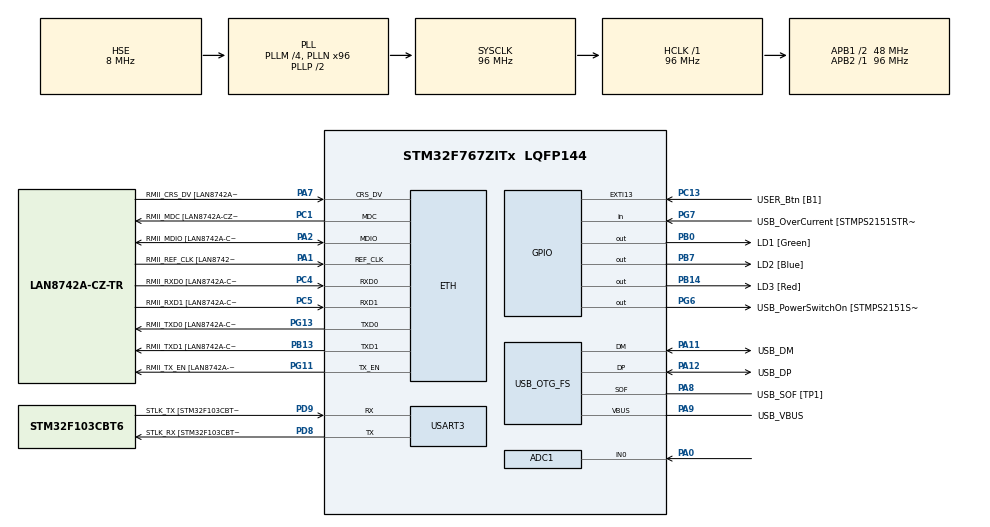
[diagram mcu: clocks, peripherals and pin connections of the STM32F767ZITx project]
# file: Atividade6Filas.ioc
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ADC1.Channel-0\#ChannelRegularConversion=ADC_CHANNEL_0
ADC1.NbrOfConversionFlag=1
ADC1.Rank-0\#ChannelRegularConversion=1
ADC1.SamplingTime-0\#ChannelRegularConversion=ADC_SAMPLETIME_3CYCLES
ADC1.master=1
Dma.ADC1.0.Direction=DMA_PERIPH_TO_MEMORY
Dma.ADC1.0.FIFOMode=DMA_FIFOMODE_DISABLE
Dma.ADC1.0.Instance=DMA2_Stream0
Dma.ADC1.0.MemDataAlignment=DMA_MDATAALIGN_HALFWORD
Dma.ADC1.0.MemInc=DMA_MINC_ENABLE
Dma.ADC1.0.Mode=DMA_NORMAL
Dma.ADC1.0.PeriphDataAlignment=DMA_PDATAALIGN_HALFWORD
Dma.ADC1.0.PeriphInc=DMA_PINC_DISABLE
Dma.ADC1.0.Priority=DMA_PRIORITY_LOW
Dma.Request0=ADC1
ETH.MediaInterface=HAL_ETH_RMII_MODE
ETH.PHY_Name=LAN8742A_PHY_ADDRESS
ETH.PHY_Value=0
ETH.PhyAddress=0
FREERTOS.BinarySemaphores01=semaforo1,Dynamic,NULL,Available;semaforoButtom,Dynamic,NULL,Available
FREERTOS.Queues01=Queue01,32,uint16_t,0,Dynamic,NULL,NULL
FREERTOS.Tasks01=comsumerTask,24,128,StartComsumerTask,Default,NULL,Dynamic,NULL,NULL;producerTask,24,128,StartProducerTask,Default,NULL,Dynamic,NULL,NULL
FREERTOS.configUSE_NEWLIB_REENTRANT=1
Mcu.Family=STM32F7
Mcu.Name=STM32F767ZITx
Mcu.Package=LQFP144
NVIC.DMA2_Stream0_IRQn=true\:5\:0\:false\:false\:true\:true\:false\:true\:true
NVIC.EXTI15_10_IRQn=true\:5\:0\:false\:false\:true\:true\:true\:true\:true
NVIC.PriorityGroup=NVIC_PRIORITYGROUP_4
NVIC.TIM6_DAC_IRQn=true\:15\:0\:false\:false\:true\:false\:false\:true\:true
NVIC.TimeBase=TIM6_DAC_IRQn
NVIC.TimeBaseIP=TIM6
PA0/WKUP.Signal=ADCx_IN0
PA1.GPIO_Label=RMII_REF_CLK [LAN8742A-CZ-TR_REFCLK0]
PA1.Mode=RMII
PA1.Signal=ETH_REF_CLK
PA10.GPIO_Label=USB_ID
PA10.Signal=USB_OTG_FS_ID
PA11.GPIO_Label=USB_DM
PA11.Mode=Device_Only
PA11.Signal=USB_OTG_FS_DM
PA12.GPIO_Label=USB_DP
PA12.Mode=Device_Only
PA12.Signal=USB_OTG_FS_DP
PA13.GPIO_Label=TMS
PA13.Mode=Serial_Wire
PA13.Signal=SYS_JTMS-SWDIO
PA14.GPIO_Label=TCK
PA14.Mode=Serial_Wire
PA14.Signal=SYS_JTCK-SWCLK
PA2.GPIO_Label=RMII_MDIO [LAN8742A-CZ-TR_MDIO]
PA2.Mode=RMII
PA2.Signal=ETH_MDIO
PA7.GPIO_Label=RMII_CRS_DV [LAN8742A-CZ-TR_CRS_DV]
PA7.Mode=RMII
PA7.Signal=ETH_CRS_DV
PA8.GPIO_Label=USB_SOF [TP1]
PA8.Mode=Activate_SOF_FS
PA8.Signal=USB_OTG_FS_SOF
PA9.GPIO_Label=USB_VBUS
PA9.Mode=Activate_VBUS
PA9.Signal=USB_OTG_FS_VBUS
PB0.GPIO_Label=LD1 [Green]
PB0.Signal=GPIO_Output
PB13.GPIO_Label=RMII_TXD1 [LAN8742A-CZ-TR_TXD1]
PB13.Mode=RMII
PB13.Signal=ETH_TXD1
PB14.GPIO_Label=LD3 [Red]
PB14.Signal=GPIO_Output
PB3.GPIO_Label=SWO
PB3.Signal=SYS_JTDO-SWO
PB7.GPIO_Label=LD2 [Blue]
PB7.Signal=GPIO_Output
PC1.GPIO_Label=RMII_MDC [LAN8742A-CZ-TR_MDC]
PC1.Mode=RMII
PC1.Signal=ETH_MDC
PC13.GPIO_Label=USER_Btn [B1]
PC13.GPIO_PuPd=GPIO_PULLDOWN
PC13.Signal=GPXTI13
PC14/OSC32_IN.Mode=LSE-External-Oscillator
PC14/OSC32_IN.Signal=RCC_OSC32_IN
PC15/OSC32_OUT.Mode=LSE-External-Oscillator
PC15/OSC32_OUT.Signal=RCC_OSC32_OUT
PC4.GPIO_Label=RMII_RXD0 [LAN8742A-CZ-TR_RXD0]
PC4.Mode=RMII
PC4.Signal=ETH_RXD0
PC5.GPIO_Label=RMII_RXD1 [LAN8742A-CZ-TR_RXD1]
PC5.Mode=RMII
PC5.Signal=ETH_RXD1
PD8.GPIO_Label=STLK_RX [STM32F103CBT6_PA3]
PD8.Mode=Asynchronous
PD8.Signal=USART3_TX
PD9.GPIO_Label=STLK_TX [STM32F103CBT6_PA2]
PD9.Mode=Asynchronous
PD9.Signal=USART3_RX
PG11.GPIO_Label=RMII_TX_EN [LAN8742A-CZ-TR_TXEN]
PG11.Mode=RMII
PG11.Signal=ETH_TX_EN
PG13.GPIO_Label=RMII_TXD0 [LAN8742A-CZ-TR_TXD0]
PG13.Mode=RMII
PG13.Signal=ETH_TXD0
PG6.GPIO_Label=USB_PowerSwitchOn [STMPS2151STR_EN]
PG6.Signal=GPIO_Output
PG7.GPIO_Label=USB_OverCurrent [STMPS2151STR_FAULT]
PG7.Signal=GPIO_Input
PH0/OSC_IN.GPIO_Label=MCO [STM32F103CBT6_PA8]
PH0/OSC_IN.Mode=HSE-External-Clock-Source
PH0/OSC_IN.Signal=RCC_OSC_IN
PH1/OSC_OUT.Mode=HSE-External-Clock-Source
PH1/OSC_OUT.Signal=RCC_OSC_OUT
ProjectManager.HeapSize=0x200
ProjectManager.StackSize=0x400
ProjectManager.TargetToolchain=STM32CubeIDE
RCC.48MHZClocksFreq_Value=24000000
RCC.AHBFreq_Value=96000000
RCC.APB1CLKDivider=RCC_HCLK_DIV2
RCC.APB1Freq_Value=48000000
RCC.APB1TimFreq_Value=96000000
RCC.APB2Freq_Value=96000000
RCC.APB2TimFreq_Value=96000000
RCC.CortexFreq_Value=96000000
RCC.HCLKFreq_Value=96000000
RCC.HSE_VALUE=8000000
RCC.HSI_VALUE=16000000
RCC.PLLM=4
RCC.PLLMUL=RCC_PLL_MUL9
RCC.PLLN=96
RCC.PLLQ=4
RCC.PRESCALERUSB=RCC_USBCLKSOURCE_PLL_DIV1_5
RCC.SYSCLKFreq_VALUE=96000000
RCC.SYSCLKSource=RCC_SYSCLKSOURCE_PLLCLK
RCC.SYSCLKSourceVirtual=RCC_SYSCLKSOURCE_PLLCLK
RCC.USBFreq_Value=48000000
RCC.VCOOutputFreq_Value=192000000
SH.ADCx_IN0.0=ADC1_IN0,IN0
USART3.VirtualMode-Asynchronous=VM_ASYNC
USB_OTG_FS.VirtualMode=Device_Only
VP_FREERTOS_VS_CMSIS_V2.Mode=CMSIS_V2
VP_SYS_VS_tim6.Mode=TIM6
board=NUCLEO-F767ZI

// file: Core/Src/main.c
/* USER CODE BEGIN Header */
/**
  ******************************************************************************
  * @file           : main.c
  * @brief          : Main program body
  ******************************************************************************
  * @attention
  *
  * Copyright (c) 2025 STMicroelectronics.
  * All rights reserved.
  *
  * This software is licensed under terms that can be found in the LICENSE file
  * in the root directory of this software component.
  * If no LICENSE file comes with this software, it is provided AS-IS.
  *
  ******************************************************************************
  */
/* USER CODE END Header */
#include "main.h"
#include "string.h"
#include "cmsis_os.h"

/* USER CODE BEGIN Includes */
#include <stdio.h>

/* USER CODE END Includes */

#if defined ( __ICCARM__ ) /*!< IAR Compiler */
#pragma location=0x2007c000
ETH_DMADescTypeDef  DMARxDscrTab[ETH_RX_DESC_CNT]; /* Ethernet Rx DMA Descriptors */
#pragma location=0x2007c0a0
ETH_DMADescTypeDef  DMATxDscrTab[ETH_TX_DESC_CNT]; /* Ethernet Tx DMA Descriptors */

#elif defined ( __CC_ARM )  /* MDK ARM Compiler */

__attribute__((at(0x2007c000))) ETH_DMADescTypeDef  DMARxDscrTab[ETH_RX_DESC_CNT]; /* Ethernet Rx DMA Descriptors */
__attribute__((at(0x2007c0a0))) ETH_DMADescTypeDef  DMATxDscrTab[ETH_TX_DESC_CNT]; /* Ethernet Tx DMA Descriptors */

#elif defined ( __GNUC__ ) /* GNU Compiler */

ETH_DMADescTypeDef DMARxDscrTab[ETH_RX_DESC_CNT] __attribute__((section(".RxDecripSection"))); /* Ethernet Rx DMA Descriptors */
ETH_DMADescTypeDef DMATxDscrTab[ETH_TX_DESC_CNT] __attribute__((section(".TxDecripSection")));   /* Ethernet Tx DMA Descriptors */
#endif

ETH_TxPacketConfig TxConfig;

ADC_HandleTypeDef hadc1;
DMA_HandleTypeDef hdma_adc1;

ETH_HandleTypeDef heth;

UART_HandleTypeDef huart3;

PCD_HandleTypeDef hpcd_USB_OTG_FS;

/* Definitions for comsumerTask */
osThreadId_t comsumerTaskHandle;
const osThreadAttr_t comsumerTask_attributes = {
  .name = "comsumerTask",
  .stack_size = 128 * 4,
  .priority = (osPriority_t) osPriorityNormal,
};
/* Definitions for producerTask */
osThreadId_t producerTaskHandle;
const osThreadAttr_t producerTask_attributes = {
  .name = "producerTask",
  .stack_size = 128 * 4,
  .priority = (osPriority_t) osPriorityNormal,
};
/* Definitions for Queue01 */
osMessageQueueId_t Queue01Handle;
const osMessageQueueAttr_t Queue01_attributes = {
  .name = "Queue01"
};
/* Definitions for semaforo1 */
osSemaphoreId_t semaforo1Handle;
const osSemaphoreAttr_t semaforo1_attributes = {
  .name = "semaforo1"
};
/* Definitions for semaforoButtom */
osSemaphoreId_t semaforoButtomHandle;
const osSemaphoreAttr_t semaforoButtom_attributes = {
  .name = "semaforoButtom"
};
/* USER CODE BEGIN PV */
int __io_putchar(int ch);
volatile int16_t avg;

/* USER CODE END PV */

void SystemClock_Config(void);
static void MX_GPIO_Init(void);
static void MX_DMA_Init(void);
static void MX_ETH_Init(void);
static void MX_USART3_UART_Init(void);
static void MX_USB_OTG_FS_PCD_Init(void);
static void MX_ADC1_Init(void);
void StartComsumerTask(void *argument);
void StartProducerTask(void *argument);

/* USER CODE BEGIN 0 */
volatile uint16_t adc_values[1024];

/* USER CODE END 0 */

int main(void)
{

  /* MCU Configuration--------------------------------------------------------*/

  /* Reset of all peripherals, Initializes the Flash interface and the Systick. */
  HAL_Init();

  /* Configure the system clock */
  SystemClock_Config();

  /* Initialize all configured peripherals */
  MX_GPIO_Init();
  MX_DMA_Init();
  MX_ETH_Init();
  MX_USART3_UART_Init();
  MX_USB_OTG_FS_PCD_Init();
  MX_ADC1_Init();

  /* Init scheduler */
  osKernelInitialize();

  /* Create the semaphores(s) */
  /* creation of semaforo1 */
  semaforo1Handle = osSemaphoreNew(1, 1, &semaforo1_attributes);

  /* creation of semaforoButtom */
  semaforoButtomHandle = osSemaphoreNew(1, 1, &semaforoButtom_attributes);

  /* Create the queue(s) */
  /* creation of Queue01 */
  Queue01Handle = osMessageQueueNew (32, sizeof(uint16_t), &Queue01_attributes);

  /* Create the thread(s) */
  /* creation of comsumerTask */
  comsumerTaskHandle = osThreadNew(StartComsumerTask, NULL, &comsumerTask_attributes);

  /* creation of producerTask */
  producerTaskHandle = osThreadNew(StartProducerTask, NULL, &producerTask_attributes);

  /* Start scheduler */
  osKernelStart();

  /* We should never get here as control is now taken by the scheduler */

  /* Infinite loop */
  while (1)
  {

  }
}

void SystemClock_Config(void)
{
  RCC_OscInitTypeDef RCC_OscInitStruct = {0};
  RCC_ClkInitTypeDef RCC_ClkInitStruct = {0};

  /** Configure LSE Drive Capability
  */
  HAL_PWR_EnableBkUpAccess();

  /** Configure the main internal regulator output voltage
  */
  __HAL_RCC_PWR_CLK_ENABLE();
  __HAL_PWR_VOLTAGESCALING_CONFIG(PWR_REGULATOR_VOLTAGE_SCALE3);

  /** Initializes the RCC Oscillators according to the specified parameters
  * in the RCC_OscInitTypeDef structure.
  */
  RCC_OscInitStruct.OscillatorType = RCC_OSCILLATORTYPE_HSE;
  RCC_OscInitStruct.HSEState = RCC_HSE_BYPASS;
  RCC_OscInitStruct.PLL.PLLState = RCC_PLL_ON;
  RCC_OscInitStruct.PLL.PLLSource = RCC_PLLSOURCE_HSE;
  RCC_OscInitStruct.PLL.PLLM = 4;
  RCC_OscInitStruct.PLL.PLLN = 96;
  RCC_OscInitStruct.PLL.PLLP = RCC_PLLP_DIV2;
  RCC_OscInitStruct.PLL.PLLQ = 4;
  RCC_OscInitStruct.PLL.PLLR = 2;
  if (HAL_RCC_OscConfig(&RCC_OscInitStruct) != HAL_OK)
  {
    Error_Handler();
  }

  /** Activate the Over-Drive mode
  */
  if (HAL_PWREx_EnableOverDrive() != HAL_OK)
  {
    Error_Handler();
  }

  /** Initializes the CPU, AHB and APB buses clocks
  */
  RCC_ClkInitStruct.ClockType = RCC_CLOCKTYPE_HCLK|RCC_CLOCKTYPE_SYSCLK
                              |RCC_CLOCKTYPE_PCLK1|RCC_CLOCKTYPE_PCLK2;
  RCC_ClkInitStruct.SYSCLKSource = RCC_SYSCLKSOURCE_PLLCLK;
  RCC_ClkInitStruct.AHBCLKDivider = RCC_SYSCLK_DIV1;
  RCC_ClkInitStruct.APB1CLKDivider = RCC_HCLK_DIV2;
  RCC_ClkInitStruct.APB2CLKDivider = RCC_HCLK_DIV1;

  if (HAL_RCC_ClockConfig(&RCC_ClkInitStruct, FLASH_LATENCY_3) != HAL_OK)
  {
    Error_Handler();
  }
}

static void MX_ADC1_Init(void)
{

  ADC_ChannelConfTypeDef sConfig = {0};

  /** Configure the global features of the ADC (Clock, Resolution, Data Alignment and number of conversion)
  */
  hadc1.Instance = ADC1;
  hadc1.Init.ClockPrescaler = ADC_CLOCK_SYNC_PCLK_DIV4;
  hadc1.Init.Resolution = ADC_RESOLUTION_12B;
  hadc1.Init.ScanConvMode = ADC_SCAN_DISABLE;
  hadc1.Init.ContinuousConvMode = DISABLE;
  hadc1.Init.DiscontinuousConvMode = DISABLE;
  hadc1.Init.ExternalTrigConvEdge = ADC_EXTERNALTRIGCONVEDGE_NONE;
  hadc1.Init.ExternalTrigConv = ADC_SOFTWARE_START;
  hadc1.Init.DataAlign = ADC_DATAALIGN_RIGHT;
  hadc1.Init.NbrOfConversion = 1;
  hadc1.Init.DMAContinuousRequests = DISABLE;
  hadc1.Init.EOCSelection = ADC_EOC_SINGLE_CONV;
  if (HAL_ADC_Init(&hadc1) != HAL_OK)
  {
    Error_Handler();
  }

  /** Configure for the selected ADC regular channel its corresponding rank in the sequencer and its sample time.
  */
  sConfig.Channel = ADC_CHANNEL_0;
  sConfig.Rank = ADC_REGULAR_RANK_1;
  sConfig.SamplingTime = ADC_SAMPLETIME_3CYCLES;
  if (HAL_ADC_ConfigChannel(&hadc1, &sConfig) != HAL_OK)
  {
    Error_Handler();
  }

}

static void MX_ETH_Init(void)
{

   static uint8_t MACAddr[6];

  heth.Instance = ETH;
  MACAddr[0] = 0x00;
  MACAddr[1] = 0x80;
  MACAddr[2] = 0xE1;
  MACAddr[3] = 0x00;
  MACAddr[4] = 0x00;
  MACAddr[5] = 0x00;
  heth.Init.MACAddr = &MACAddr[0];
  heth.Init.MediaInterface = HAL_ETH_RMII_MODE;
  heth.Init.TxDesc = DMATxDscrTab;
  heth.Init.RxDesc = DMARxDscrTab;
  heth.Init.RxBuffLen = 1524;

  if (HAL_ETH_Init(&heth) != HAL_OK)
  {
    Error_Handler();
  }

  memset(&TxConfig, 0 , sizeof(ETH_TxPacketConfig));
  TxConfig.Attributes = ETH_TX_PACKETS_FEATURES_CSUM | ETH_TX_PACKETS_FEATURES_CRCPAD;
  TxConfig.ChecksumCtrl = ETH_CHECKSUM_IPHDR_PAYLOAD_INSERT_PHDR_CALC;
  TxConfig.CRCPadCtrl = ETH_CRC_PAD_INSERT;

}

static void MX_USART3_UART_Init(void)
{

  huart3.Instance = USART3;
  huart3.Init.BaudRate = 115200;
  huart3.Init.WordLength = UART_WORDLENGTH_8B;
  huart3.Init.StopBits = UART_STOPBITS_1;
  huart3.Init.Parity = UART_PARITY_NONE;
  huart3.Init.Mode = UART_MODE_TX_RX;
  huart3.Init.HwFlowCtl = UART_HWCONTROL_NONE;
  huart3.Init.OverSampling = UART_OVERSAMPLING_16;
  huart3.Init.OneBitSampling = UART_ONE_BIT_SAMPLE_DISABLE;
  huart3.AdvancedInit.AdvFeatureInit = UART_ADVFEATURE_NO_INIT;
  if (HAL_UART_Init(&huart3) != HAL_OK)
  {
    Error_Handler();
  }

}

static void MX_USB_OTG_FS_PCD_Init(void)
{

  hpcd_USB_OTG_FS.Instance = USB_OTG_FS;
  hpcd_USB_OTG_FS.Init.dev_endpoints = 6;
  hpcd_USB_OTG_FS.Init.speed = PCD_SPEED_FULL;
  hpcd_USB_OTG_FS.Init.dma_enable = DISABLE;
  hpcd_USB_OTG_FS.Init.phy_itface = PCD_PHY_EMBEDDED;
  hpcd_USB_OTG_FS.Init.Sof_enable = ENABLE;
  hpcd_USB_OTG_FS.Init.low_power_enable = DISABLE;
  hpcd_USB_OTG_FS.Init.lpm_enable = DISABLE;
  hpcd_USB_OTG_FS.Init.vbus_sensing_enable = ENABLE;
  hpcd_USB_OTG_FS.Init.use_dedicated_ep1 = DISABLE;
  if (HAL_PCD_Init(&hpcd_USB_OTG_FS) != HAL_OK)
  {
    Error_Handler();
  }

}

static void MX_DMA_Init(void)
{

  /* DMA controller clock enable */
  __HAL_RCC_DMA2_CLK_ENABLE();

  /* DMA interrupt init */
  /* DMA2_Stream0_IRQn interrupt configuration */
  HAL_NVIC_SetPriority(DMA2_Stream0_IRQn, 5, 0);
  HAL_NVIC_EnableIRQ(DMA2_Stream0_IRQn);

}

static void MX_GPIO_Init(void)
{
  GPIO_InitTypeDef GPIO_InitStruct = {0};

  /* GPIO Ports Clock Enable */
  __HAL_RCC_GPIOC_CLK_ENABLE();
  __HAL_RCC_GPIOH_CLK_ENABLE();
  __HAL_RCC_GPIOA_CLK_ENABLE();
  __HAL_RCC_GPIOB_CLK_ENABLE();
  __HAL_RCC_GPIOD_CLK_ENABLE();
  __HAL_RCC_GPIOG_CLK_ENABLE();

  /*Configure GPIO pin Output Level */
  HAL_GPIO_WritePin(GPIOB, LD1_Pin|LD3_Pin|LD2_Pin, GPIO_PIN_RESET);

  /*Configure GPIO pin Output Level */
  HAL_GPIO_WritePin(USB_PowerSwitchOn_GPIO_Port, USB_PowerSwitchOn_Pin, GPIO_PIN_RESET);

  /*Configure GPIO pin : USER_Btn_Pin */
  GPIO_InitStruct.Pin = USER_Btn_Pin;
  GPIO_InitStruct.Mode = GPIO_MODE_IT_RISING;
  GPIO_InitStruct.Pull = GPIO_PULLDOWN;
  HAL_GPIO_Init(USER_Btn_GPIO_Port, &GPIO_InitStruct);

  /*Configure GPIO pins : LD1_Pin LD3_Pin LD2_Pin */
  GPIO_InitStruct.Pin = LD1_Pin|LD3_Pin|LD2_Pin;
  GPIO_InitStruct.Mode = GPIO_MODE_OUTPUT_PP;
  GPIO_InitStruct.Pull = GPIO_NOPULL;
  GPIO_InitStruct.Speed = GPIO_SPEED_FREQ_LOW;
  HAL_GPIO_Init(GPIOB, &GPIO_InitStruct);

  /*Configure GPIO pin : USB_PowerSwitchOn_Pin */
  GPIO_InitStruct.Pin = USB_PowerSwitchOn_Pin;
  GPIO_InitStruct.Mode = GPIO_MODE_OUTPUT_PP;
  GPIO_InitStruct.Pull = GPIO_NOPULL;
  GPIO_InitStruct.Speed = GPIO_SPEED_FREQ_LOW;
  HAL_GPIO_Init(USB_PowerSwitchOn_GPIO_Port, &GPIO_InitStruct);

  /*Configure GPIO pin : USB_OverCurrent_Pin */
  GPIO_InitStruct.Pin = USB_OverCurrent_Pin;
  GPIO_InitStruct.Mode = GPIO_MODE_INPUT;
  GPIO_InitStruct.Pull = GPIO_NOPULL;
  HAL_GPIO_Init(USB_OverCurrent_GPIO_Port, &GPIO_InitStruct);

  /* EXTI interrupt init*/
  HAL_NVIC_SetPriority(EXTI15_10_IRQn, 5, 0);
  HAL_NVIC_EnableIRQ(EXTI15_10_IRQn);

}

/* USER CODE BEGIN 4 */
int __io_putchar(int ch) {
    HAL_UART_Transmit(&huart3, (uint8_t *)&ch, 1, HAL_MAX_DELAY);
    return ch;
}

void HAL_GPIO_EXTI_Callback(uint16_t GPIO_pin)
{
  /* USER CODE BEGIN EXTI15_10_IRQn 0 */

  /* USER CODE END EXTI15_10_IRQn 0 */
  if(GPIO_pin == USER_Btn_Pin){
	  printf("Apertei\n");
	  HAL_GPIO_TogglePin(LD3_GPIO_Port, LD3_Pin);
	  osSemaphoreRelease(semaforoButtomHandle);

  }

  /* USER CODE BEGIN EXTI15_10_IRQn 1 */

  /* USER CODE END EXTI15_10_IRQn 1 */
}

/* USER CODE END 4 */

void StartComsumerTask(void *argument)
{
  /* USER CODE BEGIN 5 */
	  uint16_t value;

	  uint8_t count = 0;

	  int64_t sum;

	  int16_t avg_array[32] = {0};

	  uint16_t max_value = 0;
  /* Infinite loop */
  for(;;)
  {
	  osSemaphoreAcquire(semaforo1Handle, osWaitForever);

	    for(int i = 0; i < 32; i++)

	    {

	      osMessageQueueGet(Queue01Handle, &value, NULL, osWaitForever);

	      sum += value - 1241;

	      if(value > max_value)

		max_value = value;

	    }

	    avg_array[count] = (sum / 32);

	    sum = 0;

	    if(count > 30)

	    {

	      for(int i = 0; i < 32; i++)

	      {

		sum += avg_array[i];

	      }

	      avg = sum / 32;

	      count = 0;

	    }

	    else

	      count++;
  }
  /* USER CODE END 5 */
}

void StartProducerTask(void *argument)
{
  /* USER CODE BEGIN StartProducerTask */
	  uint16_t value = 0;
	  /* Infinite loop */
	  for(;;)
	  {
	    osSemaphoreAcquire(semaforoButtomHandle, osWaitForever);
	    for(int i = 0; i < 32; i++)
	    {
	      for(int i = 0; i < 32; i++)
	      {
	        HAL_ADC_Start(&hadc1);
	        HAL_ADC_PollForConversion(&hadc1, HAL_MAX_DELAY);
	        value = HAL_ADC_GetValue(&hadc1);
	        printf("value = %d\n", value);
	        osMessageQueuePut(Queue01Handle, &value, 0, osWaitForever);
	      }
	      osSemaphoreRelease(semaforo1Handle);
	    }
	    osDelay(500);
	    printf("\n\navg = %d\n", avg);
	  }
  /* USER CODE END StartProducerTask */
}

void HAL_TIM_PeriodElapsedCallback(TIM_HandleTypeDef *htim)
{
  if (htim->Instance == TIM6) {
    HAL_IncTick();
  }
}

void Error_Handler(void)
{
  __disable_irq();
  while (1)
  {
  }
}
